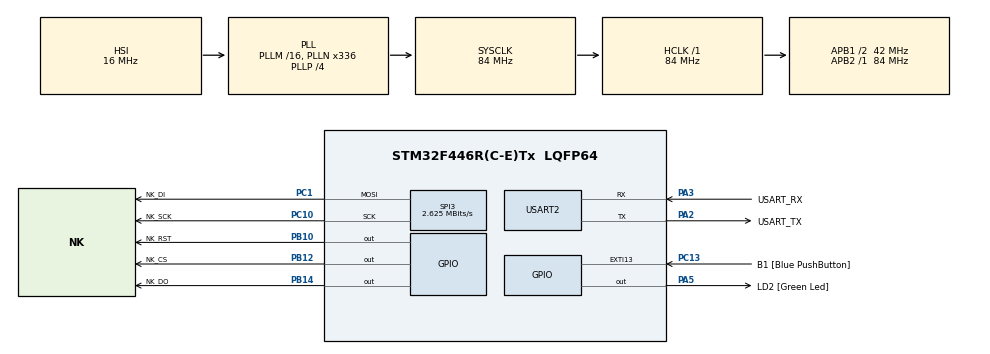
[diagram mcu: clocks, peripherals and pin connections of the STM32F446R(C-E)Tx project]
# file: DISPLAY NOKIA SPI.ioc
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Dma.Request0=SPI3_TX
Dma.SPI3_TX.0.Direction=DMA_MEMORY_TO_PERIPH
Dma.SPI3_TX.0.FIFOMode=DMA_FIFOMODE_DISABLE
Dma.SPI3_TX.0.Instance=DMA1_Stream5
Dma.SPI3_TX.0.MemDataAlignment=DMA_MDATAALIGN_BYTE
Dma.SPI3_TX.0.MemInc=DMA_MINC_ENABLE
Dma.SPI3_TX.0.Mode=DMA_NORMAL
Dma.SPI3_TX.0.PeriphDataAlignment=DMA_PDATAALIGN_BYTE
Dma.SPI3_TX.0.PeriphInc=DMA_PINC_DISABLE
Dma.SPI3_TX.0.Priority=DMA_PRIORITY_LOW
Mcu.Family=STM32F4
Mcu.Name=STM32F446R(C-E)Tx
Mcu.Package=LQFP64
NVIC.DMA1_Stream5_IRQn=true\:0\:0\:false\:false\:true\:false\:true
NVIC.PriorityGroup=NVIC_PRIORITYGROUP_0
NVIC.SPI3_IRQn=true\:0\:0\:false\:false\:true\:true\:true
NVIC.TIM1_TRG_COM_TIM11_IRQn=true\:0\:0\:false\:false\:true\:true\:true
PA13.GPIO_Label=TMS
PA13.Mode=Serial_Wire
PA13.Signal=SYS_JTMS-SWDIO
PA14.GPIO_Label=TCK
PA14.Mode=Serial_Wire
PA14.Signal=SYS_JTCK-SWCLK
PA2.GPIO_Label=USART_TX
PA2.Mode=Asynchronous
PA2.Signal=USART2_TX
PA3.GPIO_Label=USART_RX
PA3.Mode=Asynchronous
PA3.Signal=USART2_RX
PA5.GPIO_Label=LD2 [Green Led]
PA5.Signal=GPIO_Output
PB10.GPIO_Label=NK_RST
PB10.Signal=GPIO_Output
PB12.GPIO_Label=NK_CS
PB12.Signal=GPIO_Output
PB14.GPIO_Label=NK_DO
PB14.Signal=GPIO_Output
PB3.GPIO_Label=SWO
PB3.Signal=SYS_JTDO-SWO
PC1.GPIO_Label=NK_DI
PC1.Mode=TX_Only_Simplex_Unidirect_Master
PC1.Signal=SPI3_MOSI
PC10.GPIO_Label=NK_SCK
PC10.Mode=TX_Only_Simplex_Unidirect_Master
PC10.Signal=SPI3_SCK
PC13.GPIO_Label=B1 [Blue PushButton]
PC13.GPIO_ModeDefaultEXTI=GPIO_MODE_IT_FALLING
PC13.Signal=GPXTI13
PC14-OSC32_IN.Mode=LSE-External-Oscillator
PC14-OSC32_IN.Signal=RCC_OSC32_IN
PC15-OSC32_OUT.Mode=LSE-External-Oscillator
PC15-OSC32_OUT.Signal=RCC_OSC32_OUT
PH0-OSC_IN.Mode=HSE-External-Oscillator
PH0-OSC_IN.Signal=RCC_OSC_IN
PH1-OSC_OUT.Mode=HSE-External-Oscillator
PH1-OSC_OUT.Signal=RCC_OSC_OUT
ProjectManager.HeapSize=0x200
ProjectManager.StackSize=0x400
ProjectManager.TargetToolchain=STM32CubeIDE
RCC.48MHZClocksFreq_Value=84000000
RCC.AHBFreq_Value=84000000
RCC.APB1CLKDivider=RCC_HCLK_DIV2
RCC.APB1Freq_Value=42000000
RCC.APB1TimFreq_Value=84000000
RCC.APB2Freq_Value=84000000
RCC.APB2TimFreq_Value=84000000
RCC.CortexFreq_Value=84000000
RCC.FLatency-AdvancedSettings=FLASH_LATENCY_2
RCC.HCLKFreq_Value=84000000
RCC.HSE_VALUE=8000000
RCC.HSI_VALUE=16000000
RCC.PLLN=336
RCC.PLLP=RCC_PLLP_DIV4
RCC.SYSCLKFreq_VALUE=84000000
RCC.SYSCLKSource=RCC_SYSCLKSOURCE_PLLCLK
RCC.USBFreq_Value=168000000
RCC.VCOOutputFreq_Value=336000000
SPI3.BaudRatePrescaler=SPI_BAUDRATEPRESCALER_16
SPI3.CalculateBaudRate=2.625 MBits/s
SPI3.Direction=SPI_DIRECTION_2LINES
SPI3.Mode=SPI_MODE_MASTER
SPI3.VirtualType=VM_MASTER
TIM11.ClockDivision=TIM_CLOCKDIVISION_DIV1
TIM11.Period=9999
TIM11.Prescaler=8399
USART2.VirtualMode=VM_ASYNC
VP_TIM11_VS_ClockSourceINT.Mode=Enable_Timer
board=NUCLEO-F446RE

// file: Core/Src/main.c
/* USER CODE BEGIN Header */
/**
 ******************************************************************************
 * @file           : main.c
 * @brief          : Main program body
 ******************************************************************************
 * @attention
 *
 * <h2><center>&copy; Copyright (c) 2021 STMicroelectronics.
 * All rights reserved.</center></h2>
 *
 * This software component is licensed by ST under BSD 3-Clause license,
 * the "License"; You may not use this file except in compliance with the
 * License. You may obtain a copy of the License at:
 *                        opensource.org/licenses/BSD-3-Clause
 *
 ******************************************************************************
 */
/* USER CODE END Header */
#include "main.h"
#include "dma.h"
#include "spi.h"
#include "tim.h"
#include "usart.h"
#include "gpio.h"

/* USER CODE BEGIN Includes */

#include "stm32f4xx.h"
#include <stdio.h>
#include "LCD.h"
#include "imagens.h"
/* USER CODE END Includes */

/* USER CODE BEGIN PD */
#define DISP_DELAY 4000

/* tempo em segundos em que o código ficará em um
 * estado da máquina de estados (clock do tim11 foi
 * configurado para ter período de 1s)
 */
#define DELAY_TELA 5
/* USER CODE END PD */

/* USER CODE BEGIN PV */
//!Handler do Display Nokia5110
LCD_HandleTypeDef hlcd;

//!flag e string para testar callback "adiconal"
static uint16_t conta = 0;
//!msg para ser escrita mostrando o valor de "conta"
char msg[50];

uint8_t estado_display = 0;
/*variável que diz qual das três telas irá começar aparecendo
 (ela será incrementada depois)*/
uint8_t tela = 1;
//!tempo em segundos que uma das três telas ficará aparecendo
uint16_t delayTela = DELAY_TELA;

/* USER CODE END PV */

void SystemClock_Config(void);

int main(void) {

	/* MCU Configuration--------------------------------------------------------*/

	/* Reset of all peripherals, Initializes the Flash interface and the Systick. */
	HAL_Init();

	/* Configure the system clock */
	SystemClock_Config();

	/* Initialize all configured peripherals */
	MX_GPIO_Init();
	MX_USART2_UART_Init();
	MX_DMA_Init();
	MX_SPI3_Init();
	MX_TIM11_Init();
	/* USER CODE BEGIN 2 */
	HAL_TIM_Base_Start_IT(&htim11);
	//Inicialização da Instancia HLCD
	hlcd.hspi = &hspi3;
	hlcd.CS_Port = NK_CS_GPIO_Port;
	hlcd.CS_Pin = NK_CS_Pin;
	hlcd.DC_Port = NK_DO_GPIO_Port;
	hlcd.DC_Pin = NK_DO_Pin;
	hlcd.RST_Port = NK_RST_GPIO_Port;
	hlcd.RST_Pin = NK_RST_Pin;
	hlcd.modo = LCD_DMA;

	LCD5110_init(&hlcd);

	LCD5110_set_XY(0, 0); ///! primeira função n precisa repetir
	while (LCD5110_write_string("Carregando...") != HAL_OK)
		;
	HAL_Delay(1500);
	/* USER CODE END 2 */

	/* Infinite loop */
	while (1) {
	}

}

void SystemClock_Config(void) {
	RCC_OscInitTypeDef RCC_OscInitStruct = { 0 };
	RCC_ClkInitTypeDef RCC_ClkInitStruct = { 0 };

	/** Configure the main internal regulator output voltage
	 */
	__HAL_RCC_PWR_CLK_ENABLE();
	__HAL_PWR_VOLTAGESCALING_CONFIG(PWR_REGULATOR_VOLTAGE_SCALE3);
	/** Initializes the RCC Oscillators according to the specified parameters
	 * in the RCC_OscInitTypeDef structure.
	 */
	RCC_OscInitStruct.OscillatorType = RCC_OSCILLATORTYPE_HSI;
	RCC_OscInitStruct.HSIState = RCC_HSI_ON;
	RCC_OscInitStruct.HSICalibrationValue = RCC_HSICALIBRATION_DEFAULT;
	RCC_OscInitStruct.PLL.PLLState = RCC_PLL_ON;
	RCC_OscInitStruct.PLL.PLLSource = RCC_PLLSOURCE_HSI;
	RCC_OscInitStruct.PLL.PLLM = 16;
	RCC_OscInitStruct.PLL.PLLN = 336;
	RCC_OscInitStruct.PLL.PLLP = RCC_PLLP_DIV4;
	RCC_OscInitStruct.PLL.PLLQ = 2;
	RCC_OscInitStruct.PLL.PLLR = 2;
	if (HAL_RCC_OscConfig(&RCC_OscInitStruct) != HAL_OK) {
		Error_Handler();
	}
	/** Initializes the CPU, AHB and APB buses clocks
	 */
	RCC_ClkInitStruct.ClockType = RCC_CLOCKTYPE_HCLK | RCC_CLOCKTYPE_SYSCLK
			| RCC_CLOCKTYPE_PCLK1 | RCC_CLOCKTYPE_PCLK2;
	RCC_ClkInitStruct.SYSCLKSource = RCC_SYSCLKSOURCE_PLLCLK;
	RCC_ClkInitStruct.AHBCLKDivider = RCC_SYSCLK_DIV1;
	RCC_ClkInitStruct.APB1CLKDivider = RCC_HCLK_DIV2;
	RCC_ClkInitStruct.APB2CLKDivider = RCC_HCLK_DIV1;

	if (HAL_RCC_ClockConfig(&RCC_ClkInitStruct, FLASH_LATENCY_2) != HAL_OK) {
		Error_Handler();
	}
}

/* USER CODE BEGIN 4 */
void HAL_TIM_PeriodElapsedCallback(TIM_HandleTypeDef *htim) {
	if (htim->Instance == TIM11) {
		/*<<<<<<<<<<<<<MAQUINAS DE ESTADO DISPLAY>>>>>>>>>>>>>>*/
		switch (estado_display) {
		//primeiro case é para delay
		case 0:
			delayTela--; //diminui um segundo da contagem do tempo DELAY_TELA
			if (delayTela == 0) {
				delayTela = DELAY_TELA;
				//! caso DELAY_TELA ja tenha passado, vai pro proximo estado
				estado_display++;
			}
			break;

			//case 1 é para clear
		case 1:
			if (LCD5110_clear() == HAL_OK) {
				estado_display++;
			}
			break;

			//case 2 é para definir sequencia do que aparece no display
		case 2:
			if (LCD5110_set_XY(0, 0) == HAL_OK) {
				/*"tela" define onde o display irá começar
				 * 1 - case 3 (teste callback)
				 * 2 - case 4 (alfabeto e numeros)
				 * 3 - case 5 (primeira figura)
				 * 4 - case 6 (segunda figura)
				 */
				estado_display += tela;
			}
			break;

			//printa o aflabeto maiuculo, minusculo e numeros de 0 a 9
		case 3:
			sprintf(msg, "ABCdefGHIjklMNOpqrSTUvwxYZ1234567890");
			if (LCD5110_write_string(msg) == HAL_OK) {
				//volta pro delay (case 0)
				estado_display = 0;
				//incrementa a tela para atualizar (depois) o estado_display
				tela ++;
			}
			break;

			//testa callback adicional do usuário (fora da biblioteca)
		case 4:
			sprintf(msg, "Ja foram %d callbacks do SPI", conta);
			if (LCD5110_write_string(msg) == HAL_OK) {
				//volta pro delay (case 0)
				estado_display = 0;
				tela++;
			}
			break;

			//manda a primeira figura
		case 5:
			if (LCD5110_write_block(monalisa, TAM_TELA) == HAL_OK) {
				//volta pro delay (case 0)
				estado_display = 0;
				//incrementa a tela para atualizar (depois) o estado_display
				tela++;
			}
			break;

			//manda a segunda figura
		case 6:
			if (LCD5110_write_block(liber_bmp3, TAM_TELA) == HAL_OK) {
				//volta pro delay (case 0)
				estado_display = 0;
				//volta pra primeira tela
				tela = 1;
			}
			break;
		}
	}

	/*START CÓDIGO DO USUÁRIO*/
	/* Aqui o usuário pode escrever o código independente do LCD5110*/

	/*END CÓDIGO DO USUÁRIO*/
}
void HAL_SPI_TxCpltCallback(SPI_HandleTypeDef *hspi) {

	/*
	 * chama o callback da biblioteca display nokia, caso
	 * for o spi utilizado nela
	 */
	if (hspi->Instance == hlcd.hspi->Instance)
		LCD5110_TxCpltCallback(hspi);

	/*START CÓDIGO DO USU�?RIO*/
	/* Aqui o usuário pode escrever o código independente do LCD5110*/
	conta++; //conta quantas vezes o callback foi chamado
	/*END CÓDIGO DO USU�?RIO*/
}

/* USER CODE END 4 */

void Error_Handler(void) {
	__disable_irq();
	while (1) {
	}
}

/************************ (C) COPYRIGHT STMicroelectronics *****END OF FILE****/
